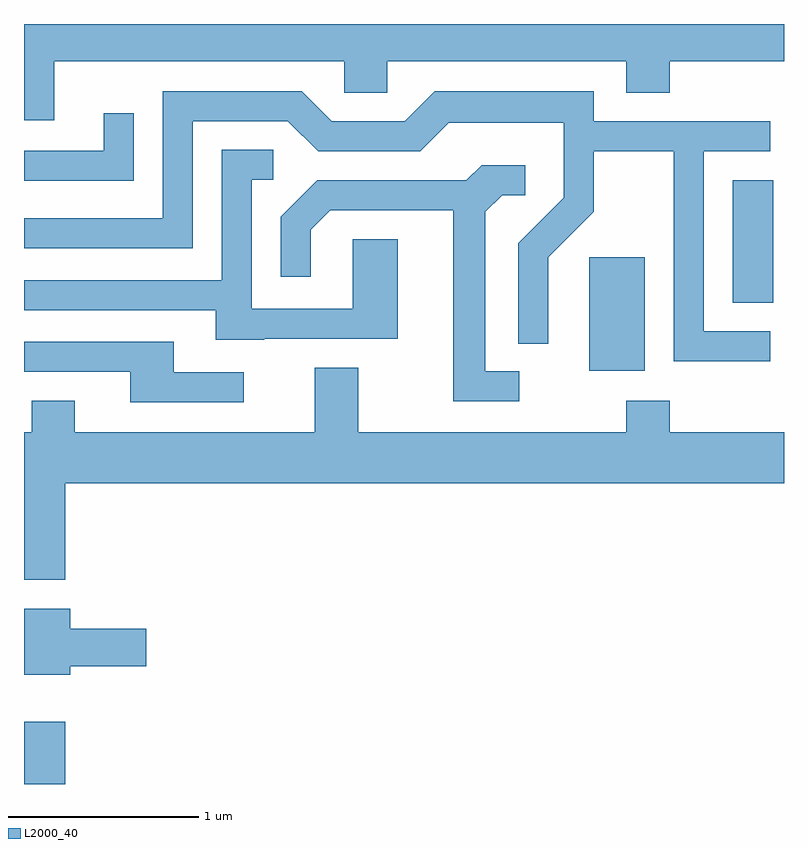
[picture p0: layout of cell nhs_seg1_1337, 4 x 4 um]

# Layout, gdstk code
import gdstk
lib = gdstk.Library(unit=1e-6, precision=1e-09)
def R(c, l, rs):  # rectangles x0, y0, x1, y1
    for r in rs: c.add(gdstk.rectangle(r[:2], r[2:], *l))
def P(c, l, *ps):  # polygons
    for p in ps: c.add(gdstk.Polygon(p, *l))
L2000_40 = (2000, 40)

nhs_seg1_1337 = lib.new_cell('nhs_seg1_1337')
R(nhs_seg1_1337, L2000_40, [(225.611,955.712,225.829,956.039), (228.586,957.886,228.879,958.484), (229.341,958.246,229.554,958.889)])
P(nhs_seg1_1337, L2000_40, [(225.769,959.516),(227.296,959.516),(227.296,959.351),(227.524,959.351),(227.524,959.516),(228.781,959.516),(228.781,959.351),(229.009,959.351),(229.009,959.516),(229.611,959.516),(229.611,959.712),(225.611,959.712),(225.611,959.206),(225.769,959.206)],
  [(229.538,958.094),(229.189,958.094),(229.189,959.041),(229.538,959.041),(229.538,959.199),(228.609,959.199),(228.609,959.359),(227.774,959.359),(227.614,959.199),(227.232,959.199),(227.072,959.359),(226.341,959.359),(226.341,958.689),(225.611,958.689),(225.611,958.531),(226.499,958.531),(226.499,959.201),(226.999,959.201),(227.159,959.041),(227.697,959.041),(227.847,959.191),(228.451,959.191),(228.451,958.797),(228.211,958.557),(228.211,958.028),(228.369,958.028),(228.369,958.484),(228.609,958.724),(228.609,959.041),(229.031,959.041),(229.031,957.936),(229.538,957.936)],
  [(226.189,959.243),(226.031,959.243),(226.031,959.044),(225.611,959.044),(225.611,958.886),(226.189,958.886)],
  [(226.875,958.056),(227.579,958.056),(227.579,958.579),(227.341,958.579),(227.341,958.214),(226.809,958.214),(226.809,958.891),(226.923,958.891),(226.923,959.049),(226.651,959.049),(226.651,958.364),(225.611,958.364),(225.611,958.206),(226.621,958.206),(226.621,958.051),(226.875,958.051)],
  [(228.218,957.884),(228.039,957.884),(228.039,958.724),(228.127,958.811),(228.248,958.811),(228.248,958.969),(228.019,958.969),(227.939,958.889),(227.154,958.889),(226.961,958.697),(226.961,958.383),(227.119,958.383),(227.119,958.629),(227.222,958.731),(227.871,958.731),(227.871,957.726),(228.218,957.726)],
  [(226.768,957.879),(226.399,957.879),(226.399,958.039),(225.611,958.039),(225.611,957.881),(226.171,957.881),(226.171,957.721),(226.768,957.721)],
  [(225.829,957.296),(229.611,957.296),(229.611,957.564),(229.009,957.564),(229.009,957.729),(228.781,957.729),(228.781,957.564),(227.369,957.564),(227.369,957.904),(227.141,957.904),(227.141,957.564),(225.879,957.564),(225.879,957.729),(225.651,957.729),(225.651,957.564),(225.611,957.564),(225.611,956.786),(225.829,956.786)],
  [(225.854,956.331),(226.254,956.331),(226.254,956.529),(225.854,956.529),(225.854,956.634),(225.611,956.634),(225.611,956.286),(225.854,956.286)])

lib.write_gds('nhs_seg1_1337.gds')
